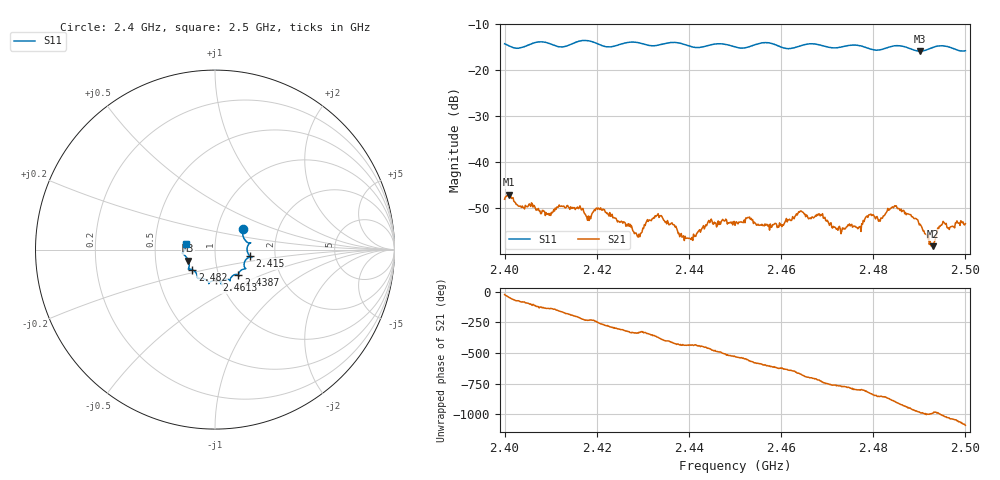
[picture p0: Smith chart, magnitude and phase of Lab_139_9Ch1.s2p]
# Hz S RI R 50
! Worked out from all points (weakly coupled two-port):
!   601 points, 2.4 GHz to 2.5 GHz, reference 50 ohm
!   highest |S21| = -47.04 dB at 2.401 GHz (marker M1); lowest = -58.2 dB at 2.493 GHz (marker M2)
!   lowest |S11| = -15.9 dB at 2.4902 GHz (marker M3), VSWR 1.38, Z = 36.8 - j4.65 ohm
!   |S11| at or under -10 dB: start of sweep to end of sweep
!   S12 and S22 are empty: the file has one direction only
!   S11 on the Smith chart (normalised r, x): 2.4 GHz: 1.33, +0.31; 2.415 GHz: 1.47, -0.11; 2.4387 GHz: 1.24, -0.36; 2.4613 GHz: 0.96, -0.34; 2.482 GHz: 0.76, -0.17; 2.5 GHz: 0.72, +0.05
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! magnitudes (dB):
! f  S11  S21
! 2.4 GHz  -14.3  -48.0
! 2.401 GHz  -14.7  -47.0
! 2.4093 GHz  -14.1  -51.2
! 2.415 GHz  -14.1  -49.8
! 2.4167 GHz  -13.6  -50.3
! 2.4182 GHz  -13.6  -51.7
! 2.4212 GHz  -14.7  -50.4
! 2.429 GHz  -14.0  -56.2
! 2.4333 GHz  -14.6  -51.2
! 2.4387 GHz  -14.3  -56.1
! 2.4445 GHz  -14.6  -53.1
! 2.45 GHz  -15.0  -53.7
! 2.4613 GHz  -15.3  -52.9
! 2.4643 GHz  -14.7  -50.5
! 2.4667 GHz  -14.3  -51.9
! 2.4733 GHz  -14.9  -54.2
! 2.482 GHz  -15.5  -52.1
! 2.4833 GHz  -15.0  -50.4
! 2.4902 GHz  -15.9  -53.4
! 2.493 GHz  -15.1  -58.2
! 2.4948 GHz  -14.7  -53.6
! 2.5 GHz  -15.8  -53.3
